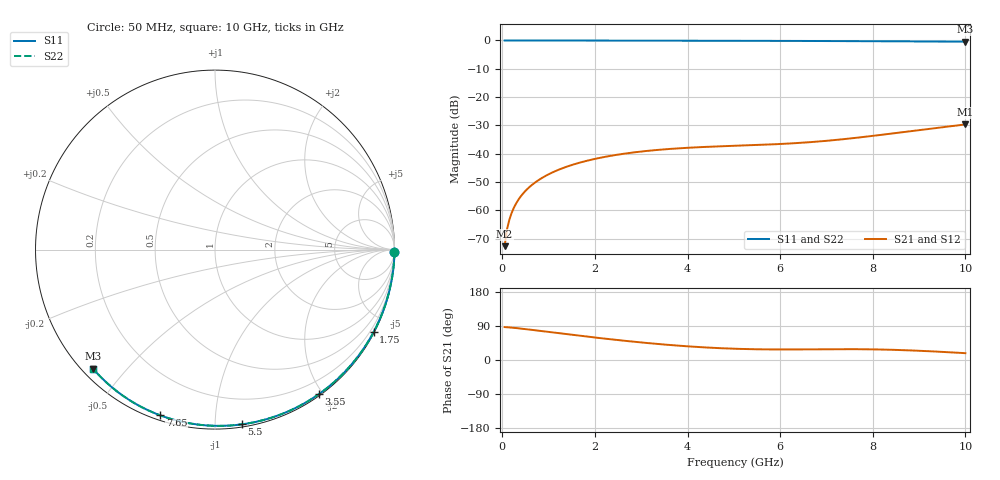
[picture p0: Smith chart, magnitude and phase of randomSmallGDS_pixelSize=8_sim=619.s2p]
! freq	dB(S11)	phase(S11)	dB(S12)	phase(S12)
!  dB(S21)	phase(S21)	dB(S22)	phase(S22)
!S-par simulation data
#  GHz  S  DB  R 50
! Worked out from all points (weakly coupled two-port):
!   200 points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, 50 MHz to 10 GHz, reference 50 ohm
!   highest |S21| = -29.66 dB at 10 GHz (marker M1); lowest = -72.7 dB at 50 MHz (marker M2)
!   lowest |S11| = -0.4 dB at 10 GHz (marker M3), VSWR 38.69, Z = 1.51 - j20.4 ohm
!   |S11| at or under -10 dB: nowhere
!   |S22| runs from -0.4 to 0.0 dB; largest |S21 - S12| = 0
!   S11 on the Smith chart (normalised r, x): 50 MHz: open; 1.75 GHz: 0.04, -4.08; 3.55 GHz: 0.02, -1.94; 5.5 GHz: 0.02, -1.16; 7.65 GHz: 0.02, -0.72; 10 GHz: 0.03, -0.41
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0.05  -0.00 -0.8  -72.66 86.8  -72.66 86.8  -0.00 -0.8
0.1  -0.00 -1.6  -66.88 86.3  -66.88 86.3  -0.00 -1.6
0.15  -0.00 -2.4  -63.46 85.9  -63.46 85.9  -0.00 -2.4
0.2  -0.00 -3.2  -61.00 85.5  -61.00 85.5  -0.00 -3.2
0.25  -0.00 -4.0  -59.09 84.9  -59.09 84.9  -0.00 -4.0
0.35  -0.00 -5.6  -56.20 83.6  -56.20 83.6  -0.00 -5.6
0.5  -0.01 -8.0  -53.14 81.5  -53.14 81.5  -0.01 -8.0
0.7  -0.01 -11.1  -50.27 78.6  -50.27 78.6  -0.01 -11.2
1  -0.02 -15.9  -47.27 74.0  -47.27 74.0  -0.02 -15.9
1.35  -0.03 -21.3  -44.83 68.8  -44.83 68.8  -0.03 -21.4
1.75  -0.04 -27.5  -42.81 62.9  -42.81 62.9  -0.04 -27.6
2.5  -0.05 -39.0  -40.32 52.5  -40.32 52.5  -0.05 -39.0
3.4  -0.07 -52.3  -38.60 41.8  -38.60 41.8  -0.07 -52.3
3.55  -0.07 -54.4  -38.40 40.3  -38.40 40.3  -0.07 -54.5
4.3  -0.09 -65.1  -37.66 33.8  -37.66 33.8  -0.09 -65.1
5.05  -0.12 -75.3  -37.19 29.6  -37.19 29.6  -0.12 -75.4
5.5  -0.13 -81.3  -36.92 28.3  -36.92 28.3  -0.13 -81.4
6.7  -0.19 -96.7  -35.86 28.2  -35.86 28.2  -0.19 -96.8
7.65  -0.24 -108.3  -34.37 28.5  -34.37 28.5  -0.24 -108.4
8.35  -0.29 -116.6  -33.00 27.2  -33.00 27.2  -0.29 -116.7
9.2  -0.37 -126.5  -31.26 23.3  -31.26 23.3  -0.37 -126.6
10  -0.45 -135.6  -29.66 18.0  -29.66 18.0  -0.45 -135.7
